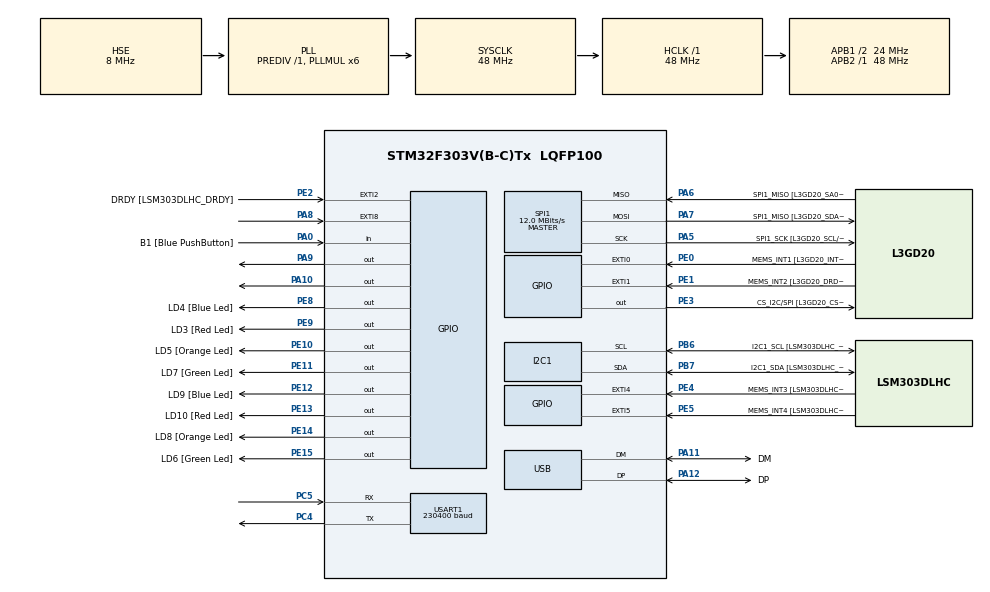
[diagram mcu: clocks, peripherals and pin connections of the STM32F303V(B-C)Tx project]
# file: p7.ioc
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I2C1.Timing=0x2000090E
I2C1.Timing-I2C=0x2000090E
Mcu.Family=STM32F3
Mcu.Name=STM32F303V(B-C)Tx
Mcu.Package=LQFP100
NVIC.EXTI9_5_IRQn=true\:0\:0\:false\:false\:true\:true\:true\:true
NVIC.PriorityGroup=NVIC_PRIORITYGROUP_0
NVIC.TIM1_BRK_TIM15_IRQn=true\:0\:0\:false\:false\:true\:true\:true\:true
NVIC.TIM1_CC_IRQn=true\:0\:0\:false\:false\:true\:true\:true\:true
NVIC.TIM1_TRG_COM_TIM17_IRQn=true\:0\:0\:false\:false\:true\:true\:true\:true
NVIC.TIM1_UP_TIM16_IRQn=true\:0\:0\:false\:false\:true\:true\:true\:true
NVIC.USART1_IRQn=true\:0\:0\:false\:false\:true\:true\:true\:true
PA0.GPIO_Label=B1 [Blue PushButton]
PA0.Signal=GPIO_Input
PA10.Signal=GPIO_Output
PA11.GPIO_Label=DM
PA11.Mode=Device
PA11.Signal=USB_DM
PA12.GPIO_Label=DP
PA12.Mode=Device
PA12.Signal=USB_DP
PA13.GPIO_Label=SWDIO
PA13.Mode=Serial_Wire
PA13.Signal=SYS_JTMS-SWDIO
PA14.GPIO_Label=SWCLK
PA14.Mode=Serial_Wire
PA14.Signal=SYS_JTCK-SWCLK
PA5.GPIO_Label=SPI1_SCK [L3GD20_SCL/SPC]
PA5.Mode=Full_Duplex_Master
PA5.Signal=SPI1_SCK
PA6.GPIO_Label=SPI1_MISO [L3GD20_SA0/SDO]
PA6.Mode=Full_Duplex_Master
PA6.Signal=SPI1_MISO
PA7.GPIO_Label=SPI1_MISO [L3GD20_SDA/SDI/SDO]
PA7.Mode=Full_Duplex_Master
PA7.Signal=SPI1_MOSI
PA8.GPIO_PuPd=GPIO_PULLDOWN
PA8.Signal=GPXTI8
PA9.Signal=GPIO_Output
PB3.GPIO_Label=SWO
PB3.Signal=SYS_JTDO-TRACESWO
PB6.GPIO_Label=I2C1_SCL [LSM303DLHC_SCL]
PB6.GPIO_Pu=GPIO_PULLUP
PB6.Mode=I2C
PB6.Signal=I2C1_SCL
PB7.GPIO_Label=I2C1_SDA [LSM303DLHC_SDA]
PB7.GPIO_Pu=GPIO_PULLUP
PB7.Mode=I2C
PB7.Signal=I2C1_SDA
PC14-OSC32_IN.GPIO_Label=OSC32_IN
PC14-OSC32_IN.Signal=RCC_OSC32_IN
PC15-OSC32_OUT.GPIO_Label=OSC32_OUT
PC15-OSC32_OUT.Signal=RCC_OSC32_OUT
PC4.Mode=Asynchronous
PC4.Signal=USART1_TX
PC5.Mode=Asynchronous
PC5.Signal=USART1_RX
PE0.GPIO_Label=MEMS_INT1 [L3GD20_INT1]
PE0.GPIO_ModeDefaultEXTI=GPIO_MODE_EVT_RISING
PE0.Signal=GPXTI0
PE1.GPIO_Label=MEMS_INT2 [L3GD20_DRDY/INT2]
PE1.GPIO_ModeDefaultEXTI=GPIO_MODE_EVT_RISING
PE1.Signal=GPXTI1
PE10.GPIO_Label=LD5 [Orange Led]
PE10.Signal=GPIO_Output
PE11.GPIO_Label=LD7 [Green Led]
PE11.Signal=GPIO_Output
PE12.GPIO_Label=LD9 [Blue Led]
PE12.Signal=GPIO_Output
PE13.GPIO_Label=LD10 [Red Led]
PE13.Signal=GPIO_Output
PE14.GPIO_Label=LD8 [Orange Led]
PE14.Signal=GPIO_Output
PE15.GPIO_Label=LD6 [Green Led]
PE15.Signal=GPIO_Output
PE2.GPIO_Label=DRDY [LSM303DLHC_DRDY]
PE2.GPIO_ModeDefaultEXTI=GPIO_MODE_EVT_RISING
PE2.Signal=GPXTI2
PE3.GPIO_Label=CS_I2C/SPI [L3GD20_CS_I2C/SPI]
PE3.Signal=GPIO_Output
PE4.GPIO_Label=MEMS_INT3 [LSM303DLHC_INT1]
PE4.GPIO_ModeDefaultEXTI=GPIO_MODE_EVT_RISING
PE4.Signal=GPXTI4
PE5.GPIO_Label=MEMS_INT4 [LSM303DLHC_INT2]
PE5.GPIO_ModeDefaultEXTI=GPIO_MODE_EVT_RISING
PE5.Signal=GPXTI5
PE8.GPIO_Label=LD4 [Blue Led]
PE8.Signal=GPIO_Output
PE9.GPIO_Label=LD3 [Red Led]
PE9.Signal=GPIO_Output
PF0-OSC_IN.GPIO_Label=OSC_IN
PF0-OSC_IN.Mode=HSE-External-Clock-Source
PF0-OSC_IN.Signal=RCC_OSC_IN
PF1-OSC_OUT.GPIO_Label=OSC_OUT
PF1-OSC_OUT.Signal=RCC_OSC_OUT
ProjectManager.HeapSize=0x200
ProjectManager.StackSize=0x400
ProjectManager.TargetToolchain=STM32CubeIDE
RCC.AHBFreq_Value=48000000
RCC.APB1CLKDivider=RCC_HCLK_DIV2
RCC.APB1Freq_Value=24000000
RCC.APB1TimFreq_Value=48000000
RCC.APB2Freq_Value=48000000
RCC.APB2TimFreq_Value=48000000
RCC.CortexFreq_Value=48000000
RCC.HCLKFreq_Value=48000000
RCC.HSE_VALUE=8000000
RCC.HSI_VALUE=8000000
RCC.LSE_VALUE=32768
RCC.PLLMUL=RCC_PLL_MUL6
RCC.SYSCLKFreq_VALUE=48000000
RCC.SYSCLKSourceVirtual=RCC_SYSCLKSOURCE_PLLCLK
RCC.USBFreq_Value=48000000
SPI1.BaudRatePrescaler=SPI_BAUDRATEPRESCALER_4
SPI1.BaudRatePrescaler-Full_Duplex_Master=SPI_BAUDRATEPRESCALER_2
SPI1.CalculateBaudRate=12.0 MBits/s
SPI1.CalculateBaudRate-Full_Duplex_Master=24.0 MBits/s
SPI1.Direction=SPI_DIRECTION_2LINES
SPI1.Mode=SPI_MODE_MASTER
SPI1.Mode-Full_Duplex_Master=SPI_MODE_MASTER
SPI1.VirtualType=VM_MASTER
TIM1.Period=1000-1
TIM1.Prescaler=4800-1
USART1.BaudRate=230400
USART1.VirtualMode-Asynchronous=VM_ASYNC
VP_TIM1_VS_ClockSourceINT.Mode=Internal
board=STM32F3DISCOVERY

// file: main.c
/* USER CODE BEGIN Header */
/**
  ******************************************************************************
  * @file           : main.c
  * @brief          : Main program body
  ******************************************************************************
  * @attention
  *
  * Copyright (c) 2023 STMicroelectronics.
  * All rights reserved.
  *
  * This software is licensed under terms that can be found in the LICENSE file
  * in the root directory of this software component.
  * If no LICENSE file comes with this software, it is provided AS-IS.
  *
  ******************************************************************************
  */
/* USER CODE END Header */
#include "main.h"

/* USER CODE BEGIN Includes */
#include <stdbool.h>
#include <string.h>
/* USER CODE END Includes */

I2C_HandleTypeDef hi2c1;

SPI_HandleTypeDef hspi1;

TIM_HandleTypeDef htim1;

UART_HandleTypeDef huart1;

PCD_HandleTypeDef hpcd_USB_FS;

/* USER CODE BEGIN PV */
int clk_count = 0;
int speed = 10;
int N;
char password[50];
char command[50];
char ch;
uint32_t idx = 0;
bool isPass = true;
int status = 0;
bool isActive = false;
bool relay = false;
int length = 0;
bool isReceived = false;
char msg[] = {'a', 'p', 'A', 'C', 'K', 'z', '\0'};

/* USER CODE END PV */

void SystemClock_Config(void);
static void MX_GPIO_Init(void);
static void MX_I2C1_Init(void);
static void MX_SPI1_Init(void);
static void MX_USB_PCD_Init(void);
static void MX_TIM1_Init(void);
static void MX_USART1_UART_Init(void);

int main(void)
{

  /* MCU Configuration--------------------------------------------------------*/

  /* Reset of all peripherals, Initializes the Flash interface and the Systick. */
  HAL_Init();

  /* Configure the system clock */
  SystemClock_Config();

  /* Initialize all configured peripherals */
  MX_GPIO_Init();
  MX_I2C1_Init();
  MX_SPI1_Init();
  MX_USB_PCD_Init();
  MX_TIM1_Init();
  MX_USART1_UART_Init();
  /* USER CODE BEGIN 2 */
  uart_rx_enable_it();
  HAL_TIM_Base_Start_IT(&htim1);
  /* USER CODE END 2 */

  /* Infinite loop */
  /* USER CODE BEGIN WHILE */
  while (1)
  {

	  if(isReceived)
	  {
		  msg[1] = command[1];
		  HAL_UART_Transmit(&huart1, "\n", 1, 1000);
		  HAL_UART_Transmit(&huart1, msg, 6, 1000);
		  HAL_UART_Transmit(&huart1, "\n", 1, 1000);
		  isReceived = false;
	  }
    /* USER CODE END WHILE */

  }
}

void SystemClock_Config(void)
{
  RCC_OscInitTypeDef RCC_OscInitStruct = {0};
  RCC_ClkInitTypeDef RCC_ClkInitStruct = {0};
  RCC_PeriphCLKInitTypeDef PeriphClkInit = {0};

  /** Initializes the RCC Oscillators according to the specified parameters
  * in the RCC_OscInitTypeDef structure.
  */
  RCC_OscInitStruct.OscillatorType = RCC_OSCILLATORTYPE_HSI|RCC_OSCILLATORTYPE_HSE;
  RCC_OscInitStruct.HSEState = RCC_HSE_BYPASS;
  RCC_OscInitStruct.HSEPredivValue = RCC_HSE_PREDIV_DIV1;
  RCC_OscInitStruct.HSIState = RCC_HSI_ON;
  RCC_OscInitStruct.HSICalibrationValue = RCC_HSICALIBRATION_DEFAULT;
  RCC_OscInitStruct.PLL.PLLState = RCC_PLL_ON;
  RCC_OscInitStruct.PLL.PLLSource = RCC_PLLSOURCE_HSE;
  RCC_OscInitStruct.PLL.PLLMUL = RCC_PLL_MUL6;
  if (HAL_RCC_OscConfig(&RCC_OscInitStruct) != HAL_OK)
  {
    Error_Handler();
  }

  /** Initializes the CPU, AHB and APB buses clocks
  */
  RCC_ClkInitStruct.ClockType = RCC_CLOCKTYPE_HCLK|RCC_CLOCKTYPE_SYSCLK
                              |RCC_CLOCKTYPE_PCLK1|RCC_CLOCKTYPE_PCLK2;
  RCC_ClkInitStruct.SYSCLKSource = RCC_SYSCLKSOURCE_PLLCLK;
  RCC_ClkInitStruct.AHBCLKDivider = RCC_SYSCLK_DIV1;
  RCC_ClkInitStruct.APB1CLKDivider = RCC_HCLK_DIV2;
  RCC_ClkInitStruct.APB2CLKDivider = RCC_HCLK_DIV1;

  if (HAL_RCC_ClockConfig(&RCC_ClkInitStruct, FLASH_LATENCY_1) != HAL_OK)
  {
    Error_Handler();
  }
  PeriphClkInit.PeriphClockSelection = RCC_PERIPHCLK_USB|RCC_PERIPHCLK_USART1
                              |RCC_PERIPHCLK_I2C1|RCC_PERIPHCLK_TIM1;
  PeriphClkInit.Usart1ClockSelection = RCC_USART1CLKSOURCE_PCLK2;
  PeriphClkInit.I2c1ClockSelection = RCC_I2C1CLKSOURCE_HSI;
  PeriphClkInit.USBClockSelection = RCC_USBCLKSOURCE_PLL;
  PeriphClkInit.Tim1ClockSelection = RCC_TIM1CLK_HCLK;
  if (HAL_RCCEx_PeriphCLKConfig(&PeriphClkInit) != HAL_OK)
  {
    Error_Handler();
  }
}

static void MX_I2C1_Init(void)
{

  hi2c1.Instance = I2C1;
  hi2c1.Init.Timing = 0x2000090E;
  hi2c1.Init.OwnAddress1 = 0;
  hi2c1.Init.AddressingMode = I2C_ADDRESSINGMODE_7BIT;
  hi2c1.Init.DualAddressMode = I2C_DUALADDRESS_DISABLE;
  hi2c1.Init.OwnAddress2 = 0;
  hi2c1.Init.OwnAddress2Masks = I2C_OA2_NOMASK;
  hi2c1.Init.GeneralCallMode = I2C_GENERALCALL_DISABLE;
  hi2c1.Init.NoStretchMode = I2C_NOSTRETCH_DISABLE;
  if (HAL_I2C_Init(&hi2c1) != HAL_OK)
  {
    Error_Handler();
  }

  /** Configure Analogue filter
  */
  if (HAL_I2CEx_ConfigAnalogFilter(&hi2c1, I2C_ANALOGFILTER_ENABLE) != HAL_OK)
  {
    Error_Handler();
  }

  /** Configure Digital filter
  */
  if (HAL_I2CEx_ConfigDigitalFilter(&hi2c1, 0) != HAL_OK)
  {
    Error_Handler();
  }

}

static void MX_SPI1_Init(void)
{

  /* SPI1 parameter configuration*/
  hspi1.Instance = SPI1;
  hspi1.Init.Mode = SPI_MODE_MASTER;
  hspi1.Init.Direction = SPI_DIRECTION_2LINES;
  hspi1.Init.DataSize = SPI_DATASIZE_4BIT;
  hspi1.Init.CLKPolarity = SPI_POLARITY_LOW;
  hspi1.Init.CLKPhase = SPI_PHASE_1EDGE;
  hspi1.Init.NSS = SPI_NSS_SOFT;
  hspi1.Init.BaudRatePrescaler = SPI_BAUDRATEPRESCALER_4;
  hspi1.Init.FirstBit = SPI_FIRSTBIT_MSB;
  hspi1.Init.TIMode = SPI_TIMODE_DISABLE;
  hspi1.Init.CRCCalculation = SPI_CRCCALCULATION_DISABLE;
  hspi1.Init.CRCPolynomial = 7;
  hspi1.Init.CRCLength = SPI_CRC_LENGTH_DATASIZE;
  hspi1.Init.NSSPMode = SPI_NSS_PULSE_ENABLE;
  if (HAL_SPI_Init(&hspi1) != HAL_OK)
  {
    Error_Handler();
  }

}

static void MX_TIM1_Init(void)
{

  TIM_ClockConfigTypeDef sClockSourceConfig = {0};
  TIM_MasterConfigTypeDef sMasterConfig = {0};

  htim1.Instance = TIM1;
  htim1.Init.Prescaler = 4800-1;
  htim1.Init.CounterMode = TIM_COUNTERMODE_UP;
  htim1.Init.Period = 1000-1;
  htim1.Init.ClockDivision = TIM_CLOCKDIVISION_DIV1;
  htim1.Init.RepetitionCounter = 0;
  htim1.Init.AutoReloadPreload = TIM_AUTORELOAD_PRELOAD_DISABLE;
  if (HAL_TIM_Base_Init(&htim1) != HAL_OK)
  {
    Error_Handler();
  }
  sClockSourceConfig.ClockSource = TIM_CLOCKSOURCE_INTERNAL;
  if (HAL_TIM_ConfigClockSource(&htim1, &sClockSourceConfig) != HAL_OK)
  {
    Error_Handler();
  }
  sMasterConfig.MasterOutputTrigger = TIM_TRGO_RESET;
  sMasterConfig.MasterOutputTrigger2 = TIM_TRGO2_RESET;
  sMasterConfig.MasterSlaveMode = TIM_MASTERSLAVEMODE_DISABLE;
  if (HAL_TIMEx_MasterConfigSynchronization(&htim1, &sMasterConfig) != HAL_OK)
  {
    Error_Handler();
  }

}

static void MX_USART1_UART_Init(void)
{

  huart1.Instance = USART1;
  huart1.Init.BaudRate = 230400;
  huart1.Init.WordLength = UART_WORDLENGTH_8B;
  huart1.Init.StopBits = UART_STOPBITS_1;
  huart1.Init.Parity = UART_PARITY_NONE;
  huart1.Init.Mode = UART_MODE_TX_RX;
  huart1.Init.HwFlowCtl = UART_HWCONTROL_NONE;
  huart1.Init.OverSampling = UART_OVERSAMPLING_16;
  huart1.Init.OneBitSampling = UART_ONE_BIT_SAMPLE_DISABLE;
  huart1.AdvancedInit.AdvFeatureInit = UART_ADVFEATURE_NO_INIT;
  if (HAL_UART_Init(&huart1) != HAL_OK)
  {
    Error_Handler();
  }

}

static void MX_USB_PCD_Init(void)
{

  hpcd_USB_FS.Instance = USB;
  hpcd_USB_FS.Init.dev_endpoints = 8;
  hpcd_USB_FS.Init.speed = PCD_SPEED_FULL;
  hpcd_USB_FS.Init.phy_itface = PCD_PHY_EMBEDDED;
  hpcd_USB_FS.Init.low_power_enable = DISABLE;
  hpcd_USB_FS.Init.battery_charging_enable = DISABLE;
  if (HAL_PCD_Init(&hpcd_USB_FS) != HAL_OK)
  {
    Error_Handler();
  }

}

static void MX_GPIO_Init(void)
{
  GPIO_InitTypeDef GPIO_InitStruct = {0};

  /* GPIO Ports Clock Enable */
  __HAL_RCC_GPIOE_CLK_ENABLE();
  __HAL_RCC_GPIOC_CLK_ENABLE();
  __HAL_RCC_GPIOF_CLK_ENABLE();
  __HAL_RCC_GPIOA_CLK_ENABLE();
  __HAL_RCC_GPIOB_CLK_ENABLE();

  /*Configure GPIO pin Output Level */
  HAL_GPIO_WritePin(GPIOE, CS_I2C_SPI_Pin|LD4_Pin|LD3_Pin|LD5_Pin
                          |LD7_Pin|LD9_Pin|LD10_Pin|LD8_Pin
                          |LD6_Pin, GPIO_PIN_RESET);

  /*Configure GPIO pin Output Level */
  HAL_GPIO_WritePin(GPIOA, GPIO_PIN_9|GPIO_PIN_10, GPIO_PIN_RESET);

  /*Configure GPIO pins : DRDY_Pin MEMS_INT3_Pin MEMS_INT4_Pin MEMS_INT1_Pin
                           MEMS_INT2_Pin */
  GPIO_InitStruct.Pin = DRDY_Pin|MEMS_INT3_Pin|MEMS_INT4_Pin|MEMS_INT1_Pin
                          |MEMS_INT2_Pin;
  GPIO_InitStruct.Mode = GPIO_MODE_EVT_RISING;
  GPIO_InitStruct.Pull = GPIO_NOPULL;
  HAL_GPIO_Init(GPIOE, &GPIO_InitStruct);

  /*Configure GPIO pins : CS_I2C_SPI_Pin LD4_Pin LD3_Pin LD5_Pin
                           LD7_Pin LD9_Pin LD10_Pin LD8_Pin
                           LD6_Pin */
  GPIO_InitStruct.Pin = CS_I2C_SPI_Pin|LD4_Pin|LD3_Pin|LD5_Pin
                          |LD7_Pin|LD9_Pin|LD10_Pin|LD8_Pin
                          |LD6_Pin;
  GPIO_InitStruct.Mode = GPIO_MODE_OUTPUT_PP;
  GPIO_InitStruct.Pull = GPIO_NOPULL;
  GPIO_InitStruct.Speed = GPIO_SPEED_FREQ_LOW;
  HAL_GPIO_Init(GPIOE, &GPIO_InitStruct);

  /*Configure GPIO pin : B1_Pin */
  GPIO_InitStruct.Pin = B1_Pin;
  GPIO_InitStruct.Mode = GPIO_MODE_INPUT;
  GPIO_InitStruct.Pull = GPIO_NOPULL;
  HAL_GPIO_Init(B1_GPIO_Port, &GPIO_InitStruct);

  /*Configure GPIO pin : PA8 */
  GPIO_InitStruct.Pin = GPIO_PIN_8;
  GPIO_InitStruct.Mode = GPIO_MODE_IT_RISING;
  GPIO_InitStruct.Pull = GPIO_PULLDOWN;
  HAL_GPIO_Init(GPIOA, &GPIO_InitStruct);

  /*Configure GPIO pins : PA9 PA10 */
  GPIO_InitStruct.Pin = GPIO_PIN_9|GPIO_PIN_10;
  GPIO_InitStruct.Mode = GPIO_MODE_OUTPUT_PP;
  GPIO_InitStruct.Pull = GPIO_NOPULL;
  GPIO_InitStruct.Speed = GPIO_SPEED_FREQ_LOW;
  HAL_GPIO_Init(GPIOA, &GPIO_InitStruct);

  /* EXTI interrupt init*/
  HAL_NVIC_SetPriority(EXTI9_5_IRQn, 0, 0);
  HAL_NVIC_EnableIRQ(EXTI9_5_IRQn);

}

/* USER CODE BEGIN 4 */
void HAL_GPIO_EXTI_Callback(uint16_t GPIO_Pin)
{
	if(GPIO_Pin == GPIO_PIN_8)
	{
		if(isActive)
		{
			speed = 1;
			status = 1;
			clk_count = 0;
			relay = true;
		}

	}
}
void command_handler()
{
	char tmp[N+1];
	if(command[0] != 'a' && command[length+2] != 'z')
	{
		HAL_UART_Transmit(&huart1, "\n", 1, 1000);
		HAL_UART_Transmit(&huart1, "Invalid Packet", 14, 1000);
		HAL_UART_Transmit(&huart1, "\n", 1, 1000);
		return;
	}
	switch(command[1])
	{
		case 'p':
			if(command[2] != '1')
			{
				HAL_UART_Transmit(&huart1, "\n", 1, 1000);
				HAL_UART_Transmit(&huart1, "Invalid Packet", 14, 1000);
				HAL_UART_Transmit(&huart1, "\n", 1, 1000);
				return;
			}
			speed = 10;
			isActive = true;
			isReceived = true;
			break;
		case 'r':
			memmove(tmp, &command[2], N);
			tmp[N] = '\0';

			if(length < N || length > N || strcmp(tmp, password) != 0)
			{
				HAL_UART_Transmit(&huart1, "\n", 1, 1000);
				HAL_UART_Transmit(&huart1, "invalid password", 16, 1000);
				HAL_UART_Transmit(&huart1, "\n", 1, 1000);

			}
			else
			{
				speed = 10;
				relay = false;
				isReceived = true;
				HAL_GPIO_WritePin(GPIOA, GPIO_PIN_10, 0);

			}
//			HAL_UART_Transmit(&huart1, tmp, N, 1000);
			break;
		case 'R':
			if(length != 0)
			{
				HAL_UART_Transmit(&huart1, "\n", 1, 1000);
				HAL_UART_Transmit(&huart1, "Invalid Packet", 14, 1000);
				HAL_UART_Transmit(&huart1, "\n", 1, 1000);
				return;
			}
			isActive = false;
			LED_handler(0);
			isReceived = true;
			relay = false;
			HAL_GPIO_WritePin(GPIOA, GPIO_PIN_10, 0);
			break;

	}
}

void LED_handler(int status)
{

	HAL_GPIO_WritePin(GPIOE, GPIO_PIN_8, status);
	HAL_GPIO_WritePin(GPIOE, GPIO_PIN_9, status);
	HAL_GPIO_WritePin(GPIOE, GPIO_PIN_10, status);
	HAL_GPIO_WritePin(GPIOE, GPIO_PIN_11, status);
	HAL_GPIO_WritePin(GPIOE, GPIO_PIN_12, status);
	HAL_GPIO_WritePin(GPIOE, GPIO_PIN_13, status);
	HAL_GPIO_WritePin(GPIOE, GPIO_PIN_14, status);
	HAL_GPIO_WritePin(GPIOE, GPIO_PIN_15, status);

}

void uart_rx_enable_it(void)
{
	HAL_UART_Receive_IT(&huart1, &ch, 1);
}

void HAL_UART_RxCpltCallback(UART_HandleTypeDef *huart)
{

	if(isPass)
	{
		password[idx] = ch;

		if(ch == '$')
		{
			isPass = false;
			N = idx + 1;
			idx = -1;
			if(N < 4)
			{
				HAL_UART_Transmit(&huart1, "\n", 1, 1000);
				HAL_UART_Transmit(&huart1, "too short password!", 19, 1000);
				HAL_UART_Transmit(&huart1, "\n", 1, 1000);

			}
		}

	}
	else
	{

		if(ch == ' ') // pir activate && reset
		{
			length = idx - 3; // length given password
			idx = -1;
			command_handler();
		}

		command[idx] = ch;

	}

	idx += 1;

	HAL_UART_Receive_IT(&huart1, &ch, 1);
}

void HAL_TIM_PeriodElapsedCallback(TIM_HandleTypeDef *htim)
{
	if(htim-> Instance == TIM1)
	{
		if(isActive)
		{
			if(relay)
			{
				HAL_GPIO_TogglePin(GPIOA, GPIO_PIN_9);
				HAL_GPIO_WritePin(GPIOA, GPIO_PIN_10, 1);
			}

			if(clk_count == speed || clk_count == 0)
			{

				LED_handler(status);
				status = (status == 0) ? 1 : 0;
				clk_count = 0;
			}

			clk_count += 1;
		}

	}
}
/* USER CODE END 4 */

void Error_Handler(void)
{
  __disable_irq();
  while (1)
  {
  }
}
